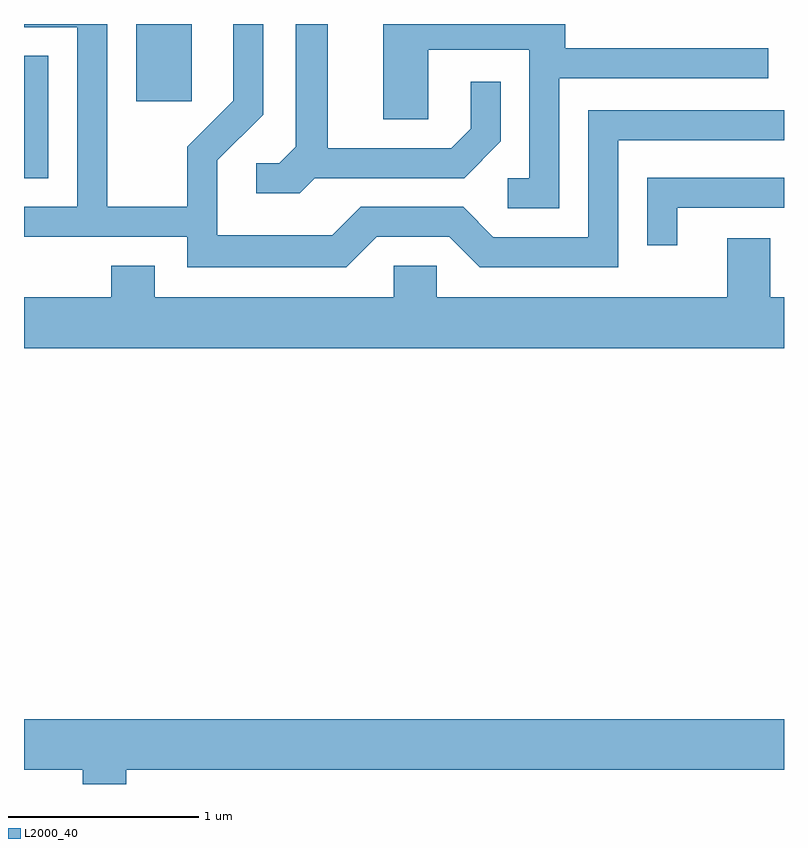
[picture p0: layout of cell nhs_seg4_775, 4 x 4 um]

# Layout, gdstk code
import gdstk
lib = gdstk.Library(unit=1e-6, precision=1e-09)
def R(c, l, rs):  # rectangles x0, y0, x1, y1
    for r in rs: c.add(gdstk.rectangle(r[:2], r[2:], *l))
def P(c, l, *ps):  # polygons
    for p in ps: c.add(gdstk.Polygon(p, *l))
L2000_40 = (2000, 40)

nhs_seg4_775 = lib.new_cell('nhs_seg4_775')
R(nhs_seg4_775, L2000_40, [(207.611,1311.171,207.739,1311.814), (208.201,1311.576,208.494,1311.982)])
P(nhs_seg4_775, L2000_40, [(209.142,1311.171),(209.927,1311.171),(210.119,1311.364),(210.119,1311.678),(209.961,1311.678),(209.961,1311.432),(209.859,1311.329),(209.209,1311.329),(209.209,1311.982),(209.041,1311.982),(209.041,1311.337),(208.954,1311.249),(208.833,1311.249),(208.833,1311.091),(209.062,1311.091)],
  [(210.429,1311.696),(211.528,1311.696),(211.528,1311.854),(210.459,1311.854),(210.459,1311.982),(209.501,1311.982),(209.501,1311.481),(209.739,1311.481),(209.739,1311.846),(210.271,1311.846),(210.271,1311.169),(210.158,1311.169),(210.158,1311.011),(210.429,1311.011)],
  [(209.467,1310.861),(209.849,1310.861),(210.009,1310.701),(210.739,1310.701),(210.739,1311.371),(211.611,1311.371),(211.611,1311.529),(210.581,1311.529),(210.581,1310.859),(210.082,1310.859),(209.922,1311.019),(209.384,1311.019),(209.234,1310.869),(208.629,1310.869),(208.629,1311.264),(208.869,1311.504),(208.869,1311.982),(208.711,1311.982),(208.711,1311.577),(208.471,1311.337),(208.471,1311.019),(208.049,1311.019),(208.049,1311.982),(207.611,1311.982),(207.611,1311.966),(207.891,1311.966),(207.891,1311.019),(207.611,1311.019),(207.611,1310.861),(208.471,1310.861),(208.471,1310.701),(209.307,1310.701)],
  [(211.049,1311.016),(211.611,1311.016),(211.611,1311.174),(210.891,1311.174),(210.891,1310.818),(211.049,1310.818)],
  [(211.611,1310.544),(211.539,1310.544),(211.539,1310.854),(211.311,1310.854),(211.311,1310.544),(209.784,1310.544),(209.784,1310.709),(209.556,1310.709),(209.556,1310.544),(208.299,1310.544),(208.299,1310.709),(208.071,1310.709),(208.071,1310.544),(207.611,1310.544),(207.611,1310.276),(211.611,1310.276)],
  [(208.149,1308.056),(211.611,1308.056),(211.611,1308.324),(207.611,1308.324),(207.611,1308.056),(207.921,1308.056),(207.921,1307.982),(208.149,1307.982)])

lib.write_gds('nhs_seg4_775.gds')
